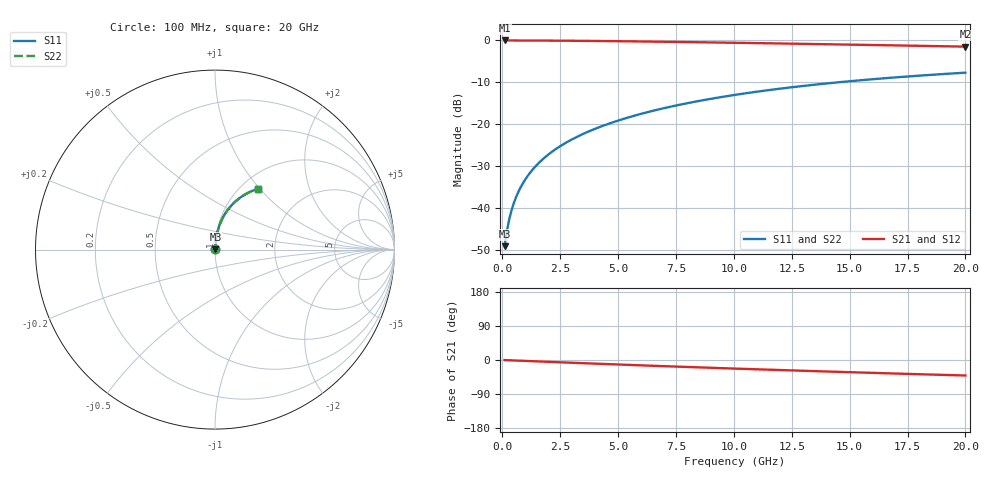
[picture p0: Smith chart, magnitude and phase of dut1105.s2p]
! Touchstone file exported from HFSS 2024.1.0
!  File:  C:/UserFiles/LocalFiles/RDL_TSV_Batchsim/temp_RDL_bottom_1105_1780054192.aedt
!  Generated:  07:32:18 PM May 29, 2026
!  Design:  RDL_bottom
!  Project:  temp_RDL_bottom_1105_1780054192
!  Setup:  Setup1
!  Solution:  Sweep
! Variables:
!  dtsv = 10.80580581um
!  hbump = 3um
!  htsv = 95.05um
!  ldown = 533.48um
!  lrdl = 100um
!  p = 40
!  p1 = 57.04um
!  rhole = 1um
!  t = 450um
!  tdown = 3.83um
!  trdl = 3.915915916um
!  wdown = 19.6um
!  wrdl = 20um
# GHz S MA R 50.000000
! Terminal data exported
! Port[1] = RDL1_T1
! Port[2] = RDL1_T2
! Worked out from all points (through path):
!   200 points, 100 MHz to 20 GHz, reference 50 ohm
!   highest |S21| = -0.02 dB at 100 MHz (marker M1); lowest = -1.5 dB at 20 GHz (marker M2)
!   group delay of S21, straight-line fit = 5.66 ps
!   lowest |S11| = -49.0 dB at 100 MHz (marker M3), VSWR 1.01, Z = 50.3 + j0.234 ohm
!   |S11| at or under -10 dB: start of sweep to 14.48 GHz
!   |S22| runs from -49.0 to -7.7 dB; largest |S21 - S12| = 2e-15
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0.1  0.003551 41.0  0.9973 -0.3  0.9973 -0.3  0.003551 41.0
! Gamma 0 0 0 0
! Port Impedance 50 0 50 0
0.2  0.005386 58.8  0.9972 -0.5  0.9972 -0.5  0.005386 58.8
0.3  0.007423 66.8  0.997 -0.8  0.997 -0.8  0.007423 66.8
0.4  0.009505 71.3  0.9969 -1.0  0.9969 -1.0  0.009506 71.3
0.5  0.0116 74.2  0.9967 -1.2  0.9967 -1.2  0.0116 74.2
0.6  0.01372 76.3  0.9966 -1.5  0.9966 -1.5  0.01372 76.3
0.8  0.01797 78.9  0.9963 -2.0  0.9963 -2.0  0.01797 78.9
1.1  0.02441 81.1  0.9957 -2.7  0.9957 -2.7  0.02441 81.1
1.5  0.03308 82.5  0.9948 -3.7  0.9948 -3.7  0.03308 82.5
1.8  0.03962 83.0  0.9939 -4.4  0.9939 -4.4  0.03962 83.0
2.1  0.04619 83.3  0.9929 -5.1  0.9929 -5.1  0.04619 83.3
2.7  0.05942 83.3  0.9905 -6.6  0.9905 -6.6  0.05942 83.3
3.5  0.0772 82.9  0.9866 -8.5  0.9866 -8.5  0.0772 82.9
4.2  0.09288 82.2  0.9826 -10.1  0.9826 -10.1  0.09288 82.2
5  0.1109 81.3  0.9773 -11.9  0.9773 -11.9  0.1109 81.3
5.9  0.1313 80.0  0.9709 -13.9  0.9709 -13.9  0.1313 80.0
6.8  0.1518 78.6  0.9639 -15.9  0.9639 -15.9  0.1518 78.6
8.4  0.1879 75.9  0.9507 -19.3  0.9507 -19.3  0.1879 75.9
10.1  0.2256 72.8  0.9357 -22.8  0.9357 -22.8  0.2256 72.8
13.4  0.2949 66.7  0.9051 -29.2  0.9051 -29.2  0.2949 66.7
16.7  0.3575 60.6  0.8736 -35.3  0.8736 -35.3  0.3575 60.6
20  0.4125 54.9  0.842 -40.9  0.842 -40.9  0.4125 54.9
